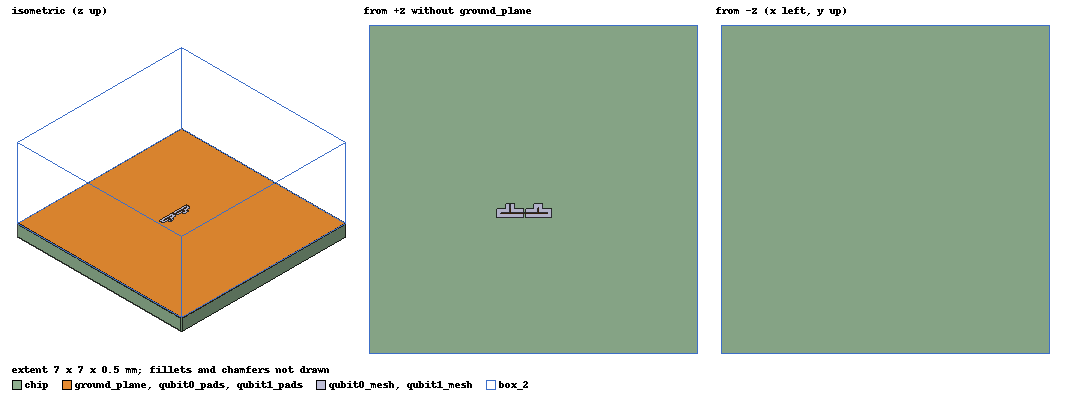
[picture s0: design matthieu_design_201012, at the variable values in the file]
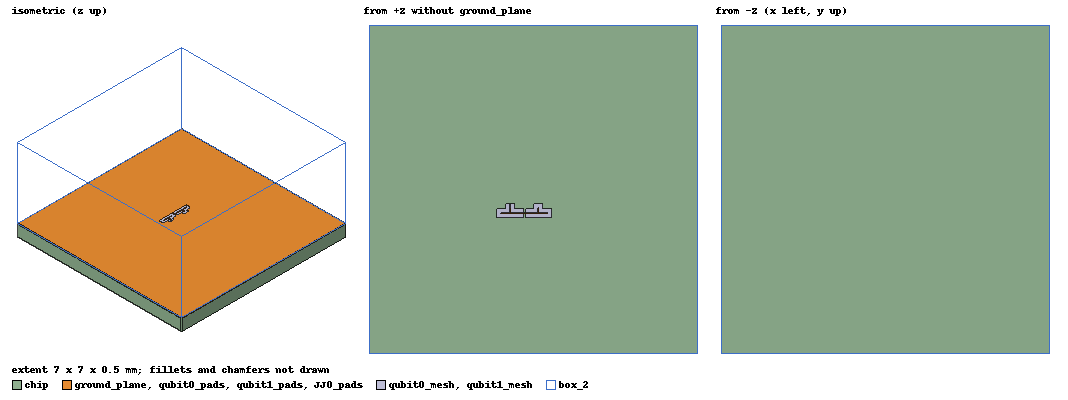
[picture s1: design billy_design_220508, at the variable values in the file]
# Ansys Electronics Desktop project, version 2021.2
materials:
  vacuum: permittivity=1
  InP: permittivity=12.4

design matthieu_design_201012 (HFSS, Eigenmode, model units mm)
options: Save_Adaptive_support_files
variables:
  chip_width = 7mm
  chip_length = 7mm
  chip_thickness = 500um
  vaccuum_thickness = 3000um
  qubit0_pos_x = 3mm
  qubit0_tr = 30um
  qubit0_leg = 100um
  qubit0top = 400um
  qubit0gap = 80um
  qubit0fillet = 10um
  qubit0wid = 2um
  qubit0induct = 10nH
  qubit1_pos_x = 3.6mm
  qubit1_tr = 30um
  qubit1_leg = 100um
  qubit1top = 400um
  qubit1gap = 80um
  qubit1fillet = 10um
  qubit1wid = 2um
  qubit1induct = 9.5nH
  JJ_width = 4um
  JJ_capa_gap = 100nm
  qubit0_pos_y = 3mm
  qubit1_pos_y = 3mm
  q01_tuning_capacitance = 1.06e-15farad
  JJ_gap = 1000nm
  q01_tuning_resistance = 4505000000ohm
  q01_tuning_inductance = 0nH
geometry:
  chip [InP] = box(corner=(0, 0, 0), size=(chip_width, chip_length, -chip_thickness))
  box_2 [vacuum] = box(corner=(0, 0, 0), size=(chip_width, chip_length, vaccuum_thickness))
  ground_plane = rectangle(corner=(0, 0, 0), x_size=chip_width, y_size=chip_length)
  qubit0_cutout = polyline(z=0, xy: (qubit0_pos_x + 1.0*qubit0gap + 0.5*qubit0top, qubit0_pos_y - 0.5*qubit0_tr - 1.0*qubit0gap) (qubit0_pos_x - 1.0*qubit0gap - 0.5*qubit0top, qubit0_pos_y - 0.5*qubit0_tr - 1.0*qubit0gap) (qubit0_pos_x - 1.0*qubit0gap - 0.5*qubit0top, qubit0_pos_y + 0.5*qubit0_tr + 1.0*qubit0gap) (qubit0_pos_x - 0.5*qubit0_tr - 1.0*qubit0gap, qubit0_pos_y + 0.5*qubit0_tr + 1.0*qubit0gap) (qubit0_pos_x - 0.5*qubit0_tr - 1.0*qubit0gap, 1.0*qubit0_leg + qubit0_pos_y + 0.5*qubit0_tr + 1.0*qubit0gap) (qubit0_pos_x + 0.5*qubit0_tr + 1.0*qubit0gap, 1.0*qubit0_leg + qubit0_pos_y + 0.5*qubit0_tr + 1.0*qubit0gap) (qubit0_pos_x + 0.5*qubit0_tr + 1.0*qubit0gap, qubit0_pos_y + 0.5*qubit0_tr + 1.0*qubit0gap) (qubit0_pos_x + 1.0*qubit0gap + 0.5*qubit0top, qubit0_pos_y + 0.5*qubit0_tr + 1.0*qubit0gap) (qubit0_pos_x + 1.0*qubit0gap + 0.5*qubit0top, qubit0_pos_y - 0.5*qubit0_tr - 1.0*qubit0gap), closed, covered)
  qubit0_cutout.fillet(Vertices=qubit0_cutout.vertex(8 of 8) Radius=qubit0fillet Setback=0mm)
  qubit0_cutout.fillet(Vertices=qubit0_cutout.vertex(7 of 8) Radius=qubit0fillet Setback=0mm)
  qubit0_cutout.fillet(Vertices=qubit0_cutout.vertex(5 of 8, 6 of 8) Radius=qubit0fillet Setback=0mm)
  qubit0_cutout.fillet(Vertices=qubit0_cutout.vertex(4 of 8) Radius=qubit0fillet Setback=0mm)
  qubit0_cutout.fillet(Vertices=qubit0_cutout.vertex(1 of 8, 2 of 8, 3 of 8) Radius=qubit0fillet Setback=0mm)
  qubit0_mesh = polyline(z=0, xy: (qubit0_pos_x + 1.0*qubit0gap + 0.5*qubit0top, qubit0_pos_y - 0.5*qubit0_tr - 1.0*qubit0gap) (qubit0_pos_x - 1.0*qubit0gap - 0.5*qubit0top, qubit0_pos_y - 0.5*qubit0_tr - 1.0*qubit0gap) (qubit0_pos_x - 1.0*qubit0gap - 0.5*qubit0top, qubit0_pos_y + 0.5*qubit0_tr + 1.0*qubit0gap) (qubit0_pos_x - 0.5*qubit0_tr - 1.0*qubit0gap, qubit0_pos_y + 0.5*qubit0_tr + 1.0*qubit0gap) (qubit0_pos_x - 0.5*qubit0_tr - 1.0*qubit0gap, 1.0*qubit0_leg + qubit0_pos_y + 0.5*qubit0_tr + 1.0*qubit0gap) (qubit0_pos_x + 0.5*qubit0_tr + 1.0*qubit0gap, 1.0*qubit0_leg + qubit0_pos_y + 0.5*qubit0_tr + 1.0*qubit0gap) (qubit0_pos_x + 0.5*qubit0_tr + 1.0*qubit0gap, qubit0_pos_y + 0.5*qubit0_tr + 1.0*qubit0gap) (qubit0_pos_x + 1.0*qubit0gap + 0.5*qubit0top, qubit0_pos_y + 0.5*qubit0_tr + 1.0*qubit0gap) (qubit0_pos_x + 1.0*qubit0gap + 0.5*qubit0top, qubit0_pos_y - 0.5*qubit0_tr - 1.0*qubit0gap), closed, covered)
  qubit0_mesh.fillet(Vertices=qubit0_mesh.vertex(8 of 8) Radius=qubit0fillet Setback=0mm)
  qubit0_mesh.fillet(Vertices=qubit0_mesh.vertex(7 of 8) Radius=qubit0fillet Setback=0mm)
  qubit0_mesh.fillet(Vertices=qubit0_mesh.vertex(5 of 8, 6 of 8) Radius=qubit0fillet Setback=0mm)
  qubit0_mesh.fillet(Vertices=qubit0_mesh.vertex(4 of 8) Radius=qubit0fillet Setback=0mm)
  qubit0_mesh.fillet(Vertices=qubit0_mesh.vertex(1 of 8, 2 of 8, 3 of 8) Radius=qubit0fillet Setback=0mm)
  qubit0_junction_pads = polyline(z=0, xy: (1.0*qubit0_pos_x - 0.5*qubit0wid, 1.0*qubit0_leg + 1.0*qubit0_pos_y + 0.5*qubit0_tr + 0.5*qubit0gap + 0.5*qubit0wid) (1.0*qubit0_pos_x - 0.5*qubit0wid, 1.0*qubit0_leg + 1.0*qubit0_pos_y + 0.5*qubit0_tr + 0.5*qubit0gap - 0.25*qubit0wid + 0.5*(qubit0gap**2.0)**0.5) (1.0*qubit0_pos_x - 0.75*qubit0wid, 1.0*qubit0_leg + 1.0*qubit0_pos_y + 0.5*qubit0_tr + 0.5*qubit0gap + 0.5*(qubit0gap**2.0)**0.5) (1.0*qubit0_pos_x + 0.75*qubit0wid, 1.0*qubit0_leg + 1.0*qubit0_pos_y + 0.5*qubit0_tr + 0.5*qubit0gap + 0.5*(qubit0gap**2.0)**0.5) (1.0*qubit0_pos_x + 0.5*qubit0wid, 1.0*qubit0_leg + 1.0*qubit0_pos_y + 0.5*qubit0_tr + 0.5*qubit0gap - 0.25*qubit0wid + 0.5*(qubit0gap**2.0)**0.5) (1.0*qubit0_pos_x + 0.5*qubit0wid, 1.0*qubit0_leg + 1.0*qubit0_pos_y + 0.5*qubit0_tr + 0.5*qubit0gap + 0.5*qubit0wid) (1.0*qubit0_pos_x - 0.5*qubit0wid, 1.0*qubit0_leg + 1.0*qubit0_pos_y + 0.5*qubit0_tr + 0.5*qubit0gap + 0.5*qubit0wid), closed, covered)
  qubit0_junction_pad2 = polyline(z=0, xy: (1.0*qubit0_pos_x - 0.5*qubit0wid, 1.0*qubit0_leg + 1.0*qubit0_pos_y + 0.5*qubit0_tr + 0.5*qubit0gap - 0.5*qubit0wid) (1.0*qubit0_pos_x - 0.5*qubit0wid, 1.0*qubit0_leg + 1.0*qubit0_pos_y + 0.5*qubit0_tr + 0.5*qubit0gap + 0.25*qubit0wid - 0.5*(qubit0gap**2.0)**0.5) (1.0*qubit0_pos_x - 0.75*qubit0wid, 1.0*qubit0_leg + 1.0*qubit0_pos_y + 0.5*qubit0_tr + 0.5*qubit0gap - 0.5*(qubit0gap**2.0)**0.5) (1.0*qubit0_pos_x + 0.75*qubit0wid, 1.0*qubit0_leg + 1.0*qubit0_pos_y + 0.5*qubit0_tr + 0.5*qubit0gap - 0.5*(qubit0gap**2.0)**0.5) (1.0*qubit0_pos_x + 0.5*qubit0wid, 1.0*qubit0_leg + 1.0*qubit0_pos_y + 0.5*qubit0_tr + 0.5*qubit0gap + 0.25*qubit0wid - 0.5*(qubit0gap**2.0)**0.5) (1.0*qubit0_pos_x + 0.5*qubit0wid, 1.0*qubit0_leg + 1.0*qubit0_pos_y + 0.5*qubit0_tr + 0.5*qubit0gap - 0.5*qubit0wid) (1.0*qubit0_pos_x - 0.5*qubit0wid, 1.0*qubit0_leg + 1.0*qubit0_pos_y + 0.5*qubit0_tr + 0.5*qubit0gap - 0.5*qubit0wid), closed, covered)
  qubit0_junction_pads.unite(qubit0_junction_pad2)
  qubit0_junction_mesh = rectangle(corner=(1.0*qubit0_pos_x + 0.75*qubit0wid, 1.0*qubit0_leg + 1.0*qubit0_pos_y + 0.5*qubit0_tr + 0.5*qubit0gap - 0.5*(qubit0gap**2.0)**0.5, 0), x_size=-1.5*qubit0wid, y_size=1.0*(qubit0gap**2.0)**0.5)
  qubit0_junction_line = polyline((1.0*qubit0_pos_x, 1.0*qubit0_leg + 1.0*qubit0_pos_y + 0.5*qubit0_tr + 0.5*qubit0gap - 0.5*qubit0wid, 0) (1.0*qubit0_pos_x, 1.0*qubit0_leg + 1.0*qubit0_pos_y + 0.5*qubit0_tr + 0.5*qubit0gap + 0.5*qubit0wid, 0))
  qubit0_junction = rectangle(corner=(1.0*qubit0_pos_x + 0.5*qubit0wid, 1.0*qubit0_leg + 1.0*qubit0_pos_y + 0.5*qubit0_tr + 0.5*qubit0gap - 0.5*qubit0wid, 0), x_size=-1.0*qubit0wid, y_size=1.0*qubit0wid)
  qubit0_pads = polyline(z=0, xy: (qubit0_pos_x + 0.5*qubit0top, qubit0_pos_y - 0.5*qubit0_tr) (qubit0_pos_x - 0.5*qubit0top, qubit0_pos_y - 0.5*qubit0_tr) (qubit0_pos_x - 0.5*qubit0top, qubit0_pos_y + 0.5*qubit0_tr) (qubit0_pos_x - 0.5*qubit0_tr, qubit0_pos_y + 0.5*qubit0_tr) (qubit0_pos_x - 0.5*qubit0_tr, 1.0*qubit0_leg + qubit0_pos_y + 0.5*qubit0_tr) (qubit0_pos_x + 0.5*qubit0_tr, 1.0*qubit0_leg + qubit0_pos_y + 0.5*qubit0_tr) (qubit0_pos_x + 0.5*qubit0_tr, qubit0_pos_y + 0.5*qubit0_tr) (qubit0_pos_x + 0.5*qubit0top, qubit0_pos_y + 0.5*qubit0_tr) (qubit0_pos_x + 0.5*qubit0top, qubit0_pos_y - 0.5*qubit0_tr), closed, covered)
  qubit0_pads.fillet(Vertices=qubit0_pads.vertex(8 of 8) Radius=qubit0fillet Setback=0mm)
  qubit0_pads.fillet(Vertices=qubit0_pads.vertex(7 of 8) Radius=qubit0fillet Setback=0mm)
  qubit0_pads.fillet(Vertices=qubit0_pads.vertex(5 of 8, 6 of 8) Radius=qubit0fillet Setback=0mm)
  qubit0_pads.fillet(Vertices=qubit0_pads.vertex(4 of 8) Radius=qubit0fillet Setback=0mm)
  qubit0_pads.fillet(Vertices=qubit0_pads.vertex(1 of 8, 2 of 8, 3 of 8) Radius=qubit0fillet Setback=0mm)
  qubit0_pads.unite(qubit0_junction_pads)
  qubit1_cutout = polyline(z=0, xy: (qubit1_pos_x + 1.0*qubit1gap + 0.5*qubit1top, qubit1_pos_y - 0.5*qubit1_tr - 1.0*qubit1gap) (qubit1_pos_x - 1.0*qubit1gap - 0.5*qubit1top, qubit1_pos_y - 0.5*qubit1_tr - 1.0*qubit1gap) (qubit1_pos_x - 1.0*qubit1gap - 0.5*qubit1top, qubit1_pos_y + 0.5*qubit1_tr + 1.0*qubit1gap) (qubit1_pos_x - 0.5*qubit1_tr - 1.0*qubit1gap, qubit1_pos_y + 0.5*qubit1_tr + 1.0*qubit1gap) (qubit1_pos_x - 0.5*qubit1_tr - 1.0*qubit1gap, 1.0*qubit1_leg + qubit1_pos_y + 0.5*qubit1_tr + 1.0*qubit1gap) (qubit1_pos_x + 0.5*qubit1_tr + 1.0*qubit1gap, 1.0*qubit1_leg + qubit1_pos_y + 0.5*qubit1_tr + 1.0*qubit1gap) (qubit1_pos_x + 0.5*qubit1_tr + 1.0*qubit1gap, qubit1_pos_y + 0.5*qubit1_tr + 1.0*qubit1gap) (qubit1_pos_x + 1.0*qubit1gap + 0.5*qubit1top, qubit1_pos_y + 0.5*qubit1_tr + 1.0*qubit1gap) (qubit1_pos_x + 1.0*qubit1gap + 0.5*qubit1top, qubit1_pos_y - 0.5*qubit1_tr - 1.0*qubit1gap), closed, covered)
  qubit1_cutout.fillet(Vertices=qubit0_cutout.vertex(8 of 8) Radius=qubit1fillet Setback=0mm)
  qubit1_cutout.fillet(Vertices=qubit0_cutout.vertex(7 of 8) Radius=qubit1fillet Setback=0mm)
  qubit1_cutout.fillet(Vertices=qubit0_cutout.vertex(5 of 8, 6 of 8) Radius=qubit1fillet Setback=0mm)
  qubit1_cutout.fillet(Vertices=qubit0_cutout.vertex(4 of 8) Radius=qubit1fillet Setback=0mm)
  qubit1_cutout.fillet(Vertices=qubit0_cutout.vertex(1 of 8, 2 of 8, 3 of 8) Radius=qubit1fillet Setback=0mm)
  qubit1_mesh = polyline(z=0, xy: (qubit1_pos_x + 1.0*qubit1gap + 0.5*qubit1top, qubit1_pos_y - 0.5*qubit1_tr - 1.0*qubit1gap) (qubit1_pos_x - 1.0*qubit1gap - 0.5*qubit1top, qubit1_pos_y - 0.5*qubit1_tr - 1.0*qubit1gap) (qubit1_pos_x - 1.0*qubit1gap - 0.5*qubit1top, qubit1_pos_y + 0.5*qubit1_tr + 1.0*qubit1gap) (qubit1_pos_x - 0.5*qubit1_tr - 1.0*qubit1gap, qubit1_pos_y + 0.5*qubit1_tr + 1.0*qubit1gap) (qubit1_pos_x - 0.5*qubit1_tr - 1.0*qubit1gap, 1.0*qubit1_leg + qubit1_pos_y + 0.5*qubit1_tr + 1.0*qubit1gap) (qubit1_pos_x + 0.5*qubit1_tr + 1.0*qubit1gap, 1.0*qubit1_leg + qubit1_pos_y + 0.5*qubit1_tr + 1.0*qubit1gap) (qubit1_pos_x + 0.5*qubit1_tr + 1.0*qubit1gap, qubit1_pos_y + 0.5*qubit1_tr + 1.0*qubit1gap) (qubit1_pos_x + 1.0*qubit1gap + 0.5*qubit1top, qubit1_pos_y + 0.5*qubit1_tr + 1.0*qubit1gap) (qubit1_pos_x + 1.0*qubit1gap + 0.5*qubit1top, qubit1_pos_y - 0.5*qubit1_tr - 1.0*qubit1gap), closed, covered)
  qubit1_mesh.fillet(Vertices=qubit1_mesh.vertex(8 of 8) Radius=qubit1fillet Setback=0mm)
  qubit1_mesh.fillet(Vertices=qubit1_mesh.vertex(7 of 8) Radius=qubit1fillet Setback=0mm)
  qubit1_mesh.fillet(Vertices=qubit1_mesh.vertex(5 of 8, 6 of 8) Radius=qubit1fillet Setback=0mm)
  qubit1_mesh.fillet(Vertices=qubit1_mesh.vertex(4 of 8) Radius=qubit1fillet Setback=0mm)
  qubit1_mesh.fillet(Vertices=qubit1_mesh.vertex(1 of 8, 2 of 8, 3 of 8) Radius=qubit1fillet Setback=0mm)
  qubit1_junction_pads = polyline(z=0, xy: (1.0*qubit1_pos_x - 0.5*qubit1wid, 1.0*qubit1_leg + 1.0*qubit1_pos_y + 0.5*qubit1_tr + 0.5*qubit1gap + 0.5*qubit1wid) (1.0*qubit1_pos_x - 0.5*qubit1wid, 1.0*qubit1_leg + 1.0*qubit1_pos_y + 0.5*qubit1_tr + 0.5*qubit1gap - 0.25*qubit1wid + 0.5*(qubit1gap**2.0)**0.5) (1.0*qubit1_pos_x - 0.75*qubit1wid, 1.0*qubit1_leg + 1.0*qubit1_pos_y + 0.5*qubit1_tr + 0.5*qubit1gap + 0.5*(qubit1gap**2.0)**0.5) (1.0*qubit1_pos_x + 0.75*qubit1wid, 1.0*qubit1_leg + 1.0*qubit1_pos_y + 0.5*qubit1_tr + 0.5*qubit1gap + 0.5*(qubit1gap**2.0)**0.5) (1.0*qubit1_pos_x + 0.5*qubit1wid, 1.0*qubit1_leg + 1.0*qubit1_pos_y + 0.5*qubit1_tr + 0.5*qubit1gap - 0.25*qubit1wid + 0.5*(qubit1gap**2.0)**0.5) (1.0*qubit1_pos_x + 0.5*qubit1wid, 1.0*qubit1_leg + 1.0*qubit1_pos_y + 0.5*qubit1_tr + 0.5*qubit1gap + 0.5*qubit1wid) (1.0*qubit1_pos_x - 0.5*qubit1wid, 1.0*qubit1_leg + 1.0*qubit1_pos_y + 0.5*qubit1_tr + 0.5*qubit1gap + 0.5*qubit1wid), closed, covered)
  qubit1_junction_pad2 = polyline(z=0, xy: (1.0*qubit1_pos_x - 0.5*qubit1wid, 1.0*qubit1_leg + 1.0*qubit1_pos_y + 0.5*qubit1_tr + 0.5*qubit1gap - 0.5*qubit1wid) (1.0*qubit1_pos_x - 0.5*qubit1wid, 1.0*qubit1_leg + 1.0*qubit1_pos_y + 0.5*qubit1_tr + 0.5*qubit1gap + 0.25*qubit1wid - 0.5*(qubit1gap**2.0)**0.5) (1.0*qubit1_pos_x - 0.75*qubit1wid, 1.0*qubit1_leg + 1.0*qubit1_pos_y + 0.5*qubit1_tr + 0.5*qubit1gap - 0.5*(qubit1gap**2.0)**0.5) (1.0*qubit1_pos_x + 0.75*qubit1wid, 1.0*qubit1_leg + 1.0*qubit1_pos_y + 0.5*qubit1_tr + 0.5*qubit1gap - 0.5*(qubit1gap**2.0)**0.5) (1.0*qubit1_pos_x + 0.5*qubit1wid, 1.0*qubit1_leg + 1.0*qubit1_pos_y + 0.5*qubit1_tr + 0.5*qubit1gap + 0.25*qubit1wid - 0.5*(qubit1gap**2.0)**0.5) (1.0*qubit1_pos_x + 0.5*qubit1wid, 1.0*qubit1_leg + 1.0*qubit1_pos_y + 0.5*qubit1_tr + 0.5*qubit1gap - 0.5*qubit1wid) (1.0*qubit1_pos_x - 0.5*qubit1wid, 1.0*qubit1_leg + 1.0*qubit1_pos_y + 0.5*qubit1_tr + 0.5*qubit1gap - 0.5*qubit1wid), closed, covered)
  qubit1_junction_pads.unite(qubit1_junction_pad2)
  qubit1_junction_mesh = rectangle(corner=(1.0*qubit1_pos_x + 0.75*qubit1wid, 1.0*qubit1_leg + 1.0*qubit1_pos_y + 0.5*qubit1_tr + 0.5*qubit1gap - 0.5*(qubit1gap**2.0)**0.5, 0), x_size=-1.5*qubit1wid, y_size=1.0*(qubit1gap**2.0)**0.5)
  qubit1_junction_line = polyline((1.0*qubit1_pos_x, 1.0*qubit1_leg + 1.0*qubit1_pos_y + 0.5*qubit1_tr + 0.5*qubit1gap - 0.5*qubit1wid, 0) (1.0*qubit1_pos_x, 1.0*qubit1_leg + 1.0*qubit1_pos_y + 0.5*qubit1_tr + 0.5*qubit1gap + 0.5*qubit1wid, 0))
  qubit1_junction = rectangle(corner=(1.0*qubit1_pos_x + 0.5*qubit1wid, 1.0*qubit1_leg + 1.0*qubit1_pos_y + 0.5*qubit1_tr + 0.5*qubit1gap - 0.5*qubit1wid, 0), x_size=-1.0*qubit1wid, y_size=1.0*qubit1wid)
  qubit1_pads = polyline(z=0, xy: (qubit1_pos_x + 0.5*qubit1top, qubit1_pos_y - 0.5*qubit1_tr) (qubit1_pos_x - 0.5*qubit1top, qubit1_pos_y - 0.5*qubit1_tr) (qubit1_pos_x - 0.5*qubit1top, qubit1_pos_y + 0.5*qubit1_tr) (qubit1_pos_x - 0.5*qubit1_tr, qubit1_pos_y + 0.5*qubit1_tr) (qubit1_pos_x - 0.5*qubit1_tr, 1.0*qubit1_leg + qubit1_pos_y + 0.5*qubit1_tr) (qubit1_pos_x + 0.5*qubit1_tr, 1.0*qubit1_leg + qubit1_pos_y + 0.5*qubit1_tr) (qubit1_pos_x + 0.5*qubit1_tr, qubit1_pos_y + 0.5*qubit1_tr) (qubit1_pos_x + 0.5*qubit1top, qubit1_pos_y + 0.5*qubit1_tr) (qubit1_pos_x + 0.5*qubit1top, qubit1_pos_y - 0.5*qubit1_tr), closed, covered)
  qubit1_pads.fillet(Vertices=qubit1_pads.vertex(8 of 8) Radius=qubit1fillet Setback=0mm)
  qubit1_pads.fillet(Vertices=qubit1_pads.vertex(7 of 8) Radius=qubit1fillet Setback=0mm)
  qubit1_pads.fillet(Vertices=qubit1_pads.vertex(5 of 8, 6 of 8) Radius=qubit1fillet Setback=0mm)
  qubit1_pads.fillet(Vertices=qubit1_pads.vertex(4 of 8) Radius=qubit1fillet Setback=0mm)
  qubit1_pads.fillet(Vertices=qubit1_pads.vertex(1 of 8, 2 of 8, 3 of 8) Radius=qubit1fillet Setback=0mm)
  qubit1_pads.unite(qubit1_junction_pads)
  JJ0_pads = polyline(z=0, xy: (0.5*JJ_gap + 0.5*qubit0_pos_x + 0.5*qubit1_pos_x, 0.5*JJ_width + 1.0*qubit0_pos_y) (0.5*JJ_width + 0.5*qubit0_pos_x - 0.166666666666666*qubit0_tr + 0.5*qubit1_pos_x + 0.5*((2.0*JJ_capa_gap + 1.0*qubit0_pos_x + 0.5*qubit0top - 1.0*qubit1_pos_x + 0.5*qubit1top)**2.0)**0.5, 0.5*JJ_width + 1.0*qubit0_pos_y) (0.5*qubit0_pos_x + 0.5*qubit1_pos_x + 0.5*((2.0*JJ_capa_gap + 1.0*qubit0_pos_x + 0.5*qubit0top - 1.0*qubit1_pos_x + 0.5*qubit1top)**2.0)**0.5, 1.0*qubit0_pos_y + 0.166666666666666*qubit0_tr) (0.5*qubit0_pos_x + 0.5*qubit1_pos_x + 0.5*((2.0*JJ_capa_gap + 1.0*qubit0_pos_x + 0.5*qubit0top - 1.0*qubit1_pos_x + 0.5*qubit1top)**2.0)**0.5, 1.0*qubit0_pos_y - 0.166666666666667*qubit0_tr) (0.5*JJ_width + 0.5*qubit0_pos_x - 0.166666666666666*qubit0_tr + 0.5*qubit1_pos_x + 0.5*((2.0*JJ_capa_gap + 1.0*qubit0_pos_x + 0.5*qubit0top - 1.0*qubit1_pos_x + 0.5*qubit1top)**2.0)**0.5, -0.5*JJ_width + 1.0*qubit0_pos_y - 9.99200722162641e-16*qubit0_tr) (0.5*JJ_gap + 0.5*qubit0_pos_x + 0.5*qubit1_pos_x, -0.5*JJ_width + 1.0*qubit0_pos_y - 9.99200722162641e-16*qubit0_tr) (0.5*JJ_gap + 0.5*qubit0_pos_x + 0.5*qubit1_pos_x, 0.5*JJ_width + 1.0*qubit0_pos_y), closed, covered)
  JJ0_pad2 = polyline(z=0, xy: (-0.5*JJ_gap + 0.5*qubit0_pos_x + 0.5*qubit1_pos_x, 0.5*JJ_width + 1.0*qubit0_pos_y) (-0.5*JJ_width + 0.5*qubit0_pos_x + 0.166666666666666*qubit0_tr + 0.5*qubit1_pos_x - 0.5*((2.0*JJ_capa_gap + 1.0*qubit0_pos_x + 0.5*qubit0top - 1.0*qubit1_pos_x + 0.5*qubit1top)**2.0)**0.5, 0.5*JJ_width + 1.0*qubit0_pos_y) (0.5*qubit0_pos_x + 0.5*qubit1_pos_x - 0.5*((2.0*JJ_capa_gap + 1.0*qubit0_pos_x + 0.5*qubit0top - 1.0*qubit1_pos_x + 0.5*qubit1top)**2.0)**0.5, 1.0*qubit0_pos_y + 0.166666666666666*qubit0_tr) (0.5*qubit0_pos_x + 0.5*qubit1_pos_x - 0.5*((2.0*JJ_capa_gap + 1.0*qubit0_pos_x + 0.5*qubit0top - 1.0*qubit1_pos_x + 0.5*qubit1top)**2.0)**0.5, 1.0*qubit0_pos_y - 0.166666666666667*qubit0_tr) (-0.5*JJ_width + 0.5*qubit0_pos_x + 0.166666666666666*qubit0_tr + 0.5*qubit1_pos_x - 0.5*((2.0*JJ_capa_gap + 1.0*qubit0_pos_x + 0.5*qubit0top - 1.0*qubit1_pos_x + 0.5*qubit1top)**2.0)**0.5, -0.5*JJ_width + 1.0*qubit0_pos_y - 9.99200722162641e-16*qubit0_tr) (-0.5*JJ_gap + 0.5*qubit0_pos_x + 0.5*qubit1_pos_x, -0.5*JJ_width + 1.0*qubit0_pos_y - 9.99200722162641e-16*qubit0_tr) (-0.5*JJ_gap + 0.5*qubit0_pos_x + 0.5*qubit1_pos_x, 0.5*JJ_width + 1.0*qubit0_pos_y), closed, covered)
  JJ0_pads.unite(JJ0_pad2)
  JJ0_mesh = rectangle(corner=(0.5*qubit0_pos_x + 0.5*qubit1_pos_x - 0.5*((2.0*JJ_capa_gap + 1.0*qubit0_pos_x + 0.5*qubit0top - 1.0*qubit1_pos_x + 0.5*qubit1top)**2.0)**0.5, 1.0*qubit0_pos_y - 0.166666666666666*qubit0_tr, 0), x_size=1.0*((2.0*JJ_capa_gap + 1.0*qubit0_pos_x + 0.5*qubit0top - 1.0*qubit1_pos_x + 0.5*qubit1top)**2.0)**0.5, y_size=0.333333333333333*qubit0_tr)
  JJ0_mesh_fine = rectangle(corner=(-5.0*JJ_gap + 0.5*qubit0_pos_x + 0.5*qubit1_pos_x, 1.0*qubit0_pos_y - 0.166666666666666*qubit0_tr, 0), x_size=10.0*JJ_gap, y_size=0.333333333333333*qubit0_tr)
  JJ0_line = polyline((-0.5*JJ_gap + 0.5*qubit0_pos_x + 0.5*qubit1_pos_x, 1.0*qubit0_pos_y, 0) (0.5*JJ_gap + 0.5*qubit0_pos_x + 0.5*qubit1_pos_x, 1.0*qubit0_pos_y, 0))
  JJ0 = rectangle(corner=(-0.5*JJ_gap + 0.5*qubit0_pos_x + 0.5*qubit1_pos_x, -0.5*JJ_width + 1.0*qubit0_pos_y, 0), x_size=1.0*JJ_gap, y_size=1.0*JJ_width)
  JJ0_cutout = rectangle(corner=(1.0*JJ_capa_gap + 1.0*qubit0_pos_x + 0.25*qubit0top + 0.25*qubit1top, qubit0_pos_y - 0.266666666666666*qubit0_tr, 0), x_size=-2.0*JJ_capa_gap - 1.0*qubit0_pos_x - 0.5*qubit0top + 1.0*qubit1_pos_x - 0.5*qubit1top, y_size=0.533333333333333*qubit0_tr)
  cg1 = rectangle(corner=(qubit0_pos_x + 0.5*qubit0top, qubit0_pos_y - 0.166666666666666*qubit0_tr, 0), x_size=JJ_capa_gap, y_size=0.333333333333333*qubit0_tr)
  cg1_mesh = rectangle(corner=(qubit0_pos_x + 0.5*qubit0top, qubit0_pos_y - 0.166666666666666*qubit0_tr, 0), x_size=JJ_capa_gap, y_size=0.333333333333333*qubit0_tr)
  cg2 = rectangle(corner=(-1.0*JJ_capa_gap + qubit1_pos_x - 0.5*qubit1top, qubit1_pos_y - 0.166666666666666*qubit1_tr, 0), x_size=JJ_capa_gap, y_size=0.333333333333333*qubit1_tr)
  cg1_mesh_1 = rectangle(corner=(-1.0*JJ_capa_gap + qubit1_pos_x - 0.5*qubit1top, qubit1_pos_y - 0.166666666666666*qubit1_tr, 0), x_size=JJ_capa_gap, y_size=0.333333333333333*qubit1_tr)
  qubit0_cutout.unite(qubit1_cutout, JJ0_cutout, cg1, cg2)
  ground_plane.subtract(qubit0_cutout)
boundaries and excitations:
  ground_plane_PerfE: Perfect E Objects=ground_plane
  qubit0_junction_LumpRLC: Lumped RLC Objects=qubit0_junction CurrentLine{middle of qubit0_junction.edge(y at corner) -> middle of qubit0_junction.edge(y opposite corner)} RLC_Type=Parallel Inductance=qubit0induct
  qubit1_junction_LumpRLC: Lumped RLC Objects=qubit1_junction CurrentLine{middle of qubit1_junction.edge(y at corner) -> middle of qubit1_junction.edge(y opposite corner)} RLC_Type=Parallel Inductance=qubit1induct
  JJ0_LumpRLC: Lumped RLC Objects=JJ0 CurrentLine{middle of JJ0.edge(x at corner) -> middle of JJ0.edge(x opposite corner)} RLC_Type=Parallel Resistance=q01_tuning_resistance Inductance=q01_tuning_inductance Capacitance=q01_tuning_capacitance
  qubit0_pads_PerfE: Perfect E Objects=qubit0_pads
  qubit1_pads_PerfE: Perfect E Objects=qubit1_pads
  JJ0_pads_PerfE: Perfect E Objects=JJ0_pads
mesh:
  qubit0_mesh: LengthBased Objects=qubit0_mesh MaxLength=0.2*qubit0_tr
  qubit0_junction_mesh: LengthBased Objects=qubit0_junction_mesh MaxLength=0.25*qubit0wid
  qubit1_mesh: LengthBased Objects=qubit1_mesh MaxLength=0.2*qubit1_tr
  qubit1_junction_mesh: LengthBased Objects=qubit1_junction_mesh MaxLength=0.25*qubit1wid
  JJ0_mesh: LengthBased Objects=JJ0_mesh MaxLength=0.5*JJ_width
  cg1_mesh: LengthBased Objects=cg1_mesh MaxLength=5e-08
  cg1_mesh_1: LengthBased Objects=cg1_mesh_1 MaxLength=5e-08
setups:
  Setup1: HfssEigen MinimumFrequency=4GHz NumModes=3 MaxDeltaFreq=1 ConvergeOnRealFreq=true MaximumPasses=20 MinimumPasses=1 MinimumConvergedPasses=1 PercentRefinement=30 BasisOrder=-1 DoLambdaRefine=false
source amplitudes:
  #-10:1: 1 0deg
  #-10:2, #-10:3: 0 0deg
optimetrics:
  ParametricSetup1: Parametric Sim._Setups=[Setup1]
    sweep q01_tuning_capacitance: LINC 1.99e-19farad 3.08e-17farad 2
    sweep q01_tuning_resistance: LINC 324000000000ohm 41200000000ohm 2
    table edits: del(1.99e-19farad, 41200000000ohm) del(3.08e-17farad, 324000000000ohm) edit(1.99e-19farad, 324000000000ohm, 1.06e-15farad, 324000000000ohm) edit(3.08e-17farad, 41200000000ohm, 3.12e-14farad, 41200000000ohm) edit(1.06e-15farad, 324000000000ohm, 1.06e-15farad, 4505000000ohm) edit(3.12e-14farad, 41200000000ohm, 3.12e-14farad, 850000000000000ohm)
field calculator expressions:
  UE = Mag_E | 2 | Pow | EnterVolume(AllObjects) | VolumeValue | Integrate
  US = Mag_E | 2 | Pow | EnterSurface(JJ0) | SurfaceValue | Integrate | 3e-09 | *
  pe_surf = US | UE | /
  USp = Mag_E | 2 | Pow | EnterSurface(JJ0_pads) | SurfaceValue | Integrate
  pe_surf_pads = USp | UE | /
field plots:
  Mag_E1: E Field on Setup1 : LastAdaptive at Phase=0deg
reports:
  Calculator Expressions Table 1: pe_surf_pads vs Phase on Setup1 : LastAdaptive [Phase=0deg q01_tuning_capacitance=all q01_tuning_resistance=all]

design billy_design_220508 (HFSS, Eigenmode, model units mm)
options: Save_Adaptive_support_files
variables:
  chip_width = 7mm
  chip_length = 7mm
  chip_thickness = 500um
  vaccuum_thickness = 3000um
  qubit0_pos_x = 3mm
  qubit0_tr = 30um
  qubit0_leg = 100um
  qubit0top = 400um
  qubit0gap = 80um
  qubit0fillet = 10um
  qubit0wid = 2um
  qubit0induct = 10nH
  qubit1_pos_x = 3.6mm
  qubit1_tr = 30um
  qubit1_leg = 100um
  qubit1top = 400um
  qubit1gap = 80um
  qubit1fillet = 10um
  qubit1wid = 2um
  qubit1induct = 9.5nH
  JJ_width = 4um
  JJ_capa_gap = 100nm
  qubit0_pos_y = 3mm
  qubit1_pos_y = 3mm
  q01_tuning_capacitance = 1.06fF
  JJ_gap = 1000nm
  q01_tuning_resistance = 4505000000ohm
  q01_tuning_inductance = 1nH
  JJ_L = 100nm
  Cg = 100fF
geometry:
  chip [InP] = box(corner=(0, 0, 0), size=(chip_width, chip_length, -chip_thickness))
  box_2 [vacuum] = box(corner=(0, 0, 0), size=(chip_width, chip_length, vaccuum_thickness))
  ground_plane = rectangle(corner=(0, 0, 0), x_size=chip_width, y_size=chip_length)
  qubit0_cutout = polyline(z=0, xy: (qubit0_pos_x + 1.0*qubit0gap + 0.5*qubit0top, qubit0_pos_y - 0.5*qubit0_tr - 1.0*qubit0gap) (qubit0_pos_x - 1.0*qubit0gap - 0.5*qubit0top, qubit0_pos_y - 0.5*qubit0_tr - 1.0*qubit0gap) (qubit0_pos_x - 1.0*qubit0gap - 0.5*qubit0top, qubit0_pos_y + 0.5*qubit0_tr + 1.0*qubit0gap) (qubit0_pos_x - 0.5*qubit0_tr - 1.0*qubit0gap, qubit0_pos_y + 0.5*qubit0_tr + 1.0*qubit0gap) (qubit0_pos_x - 0.5*qubit0_tr - 1.0*qubit0gap, 1.0*qubit0_leg + qubit0_pos_y + 0.5*qubit0_tr + 1.0*qubit0gap) (qubit0_pos_x + 0.5*qubit0_tr + 1.0*qubit0gap, 1.0*qubit0_leg + qubit0_pos_y + 0.5*qubit0_tr + 1.0*qubit0gap) (qubit0_pos_x + 0.5*qubit0_tr + 1.0*qubit0gap, qubit0_pos_y + 0.5*qubit0_tr + 1.0*qubit0gap) (qubit0_pos_x + 1.0*qubit0gap + 0.5*qubit0top, qubit0_pos_y + 0.5*qubit0_tr + 1.0*qubit0gap) (qubit0_pos_x + 1.0*qubit0gap + 0.5*qubit0top, qubit0_pos_y - 0.5*qubit0_tr - 1.0*qubit0gap), closed, covered)
  qubit0_cutout.fillet(Vertices=qubit0_cutout.vertex(8 of 8) Radius=qubit0fillet Setback=0mm)
  qubit0_cutout.fillet(Vertices=qubit0_cutout.vertex(7 of 8) Radius=qubit0fillet Setback=0mm)
  qubit0_cutout.fillet(Vertices=qubit0_cutout.vertex(5 of 8, 6 of 8) Radius=qubit0fillet Setback=0mm)
  qubit0_cutout.fillet(Vertices=qubit0_cutout.vertex(4 of 8) Radius=qubit0fillet Setback=0mm)
  qubit0_cutout.fillet(Vertices=qubit0_cutout.vertex(1 of 8, 2 of 8, 3 of 8) Radius=qubit0fillet Setback=0mm)
  qubit0_mesh = polyline(z=0, xy: (qubit0_pos_x + 1.0*qubit0gap + 0.5*qubit0top, qubit0_pos_y - 0.5*qubit0_tr - 1.0*qubit0gap) (qubit0_pos_x - 1.0*qubit0gap - 0.5*qubit0top, qubit0_pos_y - 0.5*qubit0_tr - 1.0*qubit0gap) (qubit0_pos_x - 1.0*qubit0gap - 0.5*qubit0top, qubit0_pos_y + 0.5*qubit0_tr + 1.0*qubit0gap) (qubit0_pos_x - 0.5*qubit0_tr - 1.0*qubit0gap, qubit0_pos_y + 0.5*qubit0_tr + 1.0*qubit0gap) (qubit0_pos_x - 0.5*qubit0_tr - 1.0*qubit0gap, 1.0*qubit0_leg + qubit0_pos_y + 0.5*qubit0_tr + 1.0*qubit0gap) (qubit0_pos_x + 0.5*qubit0_tr + 1.0*qubit0gap, 1.0*qubit0_leg + qubit0_pos_y + 0.5*qubit0_tr + 1.0*qubit0gap) (qubit0_pos_x + 0.5*qubit0_tr + 1.0*qubit0gap, qubit0_pos_y + 0.5*qubit0_tr + 1.0*qubit0gap) (qubit0_pos_x + 1.0*qubit0gap + 0.5*qubit0top, qubit0_pos_y + 0.5*qubit0_tr + 1.0*qubit0gap) (qubit0_pos_x + 1.0*qubit0gap + 0.5*qubit0top, qubit0_pos_y - 0.5*qubit0_tr - 1.0*qubit0gap), closed, covered)
  qubit0_mesh.fillet(Vertices=qubit0_mesh.vertex(8 of 8) Radius=qubit0fillet Setback=0mm)
  qubit0_mesh.fillet(Vertices=qubit0_mesh.vertex(7 of 8) Radius=qubit0fillet Setback=0mm)
  qubit0_mesh.fillet(Vertices=qubit0_mesh.vertex(5 of 8, 6 of 8) Radius=qubit0fillet Setback=0mm)
  qubit0_mesh.fillet(Vertices=qubit0_mesh.vertex(4 of 8) Radius=qubit0fillet Setback=0mm)
  qubit0_mesh.fillet(Vertices=qubit0_mesh.vertex(1 of 8, 2 of 8, 3 of 8) Radius=qubit0fillet Setback=0mm)
  qubit0_junction_pads = polyline(z=0, xy: (1.0*qubit0_pos_x - 0.5*qubit0wid, 1.0*qubit0_leg + 1.0*qubit0_pos_y + 0.5*qubit0_tr + 0.5*qubit0gap + 0.5*qubit0wid) (1.0*qubit0_pos_x - 0.5*qubit0wid, 1.0*qubit0_leg + 1.0*qubit0_pos_y + 0.5*qubit0_tr + 0.5*qubit0gap - 0.25*qubit0wid + 0.5*(qubit0gap**2.0)**0.5) (1.0*qubit0_pos_x - 0.75*qubit0wid, 1.0*qubit0_leg + 1.0*qubit0_pos_y + 0.5*qubit0_tr + 0.5*qubit0gap + 0.5*(qubit0gap**2.0)**0.5) (1.0*qubit0_pos_x + 0.75*qubit0wid, 1.0*qubit0_leg + 1.0*qubit0_pos_y + 0.5*qubit0_tr + 0.5*qubit0gap + 0.5*(qubit0gap**2.0)**0.5) (1.0*qubit0_pos_x + 0.5*qubit0wid, 1.0*qubit0_leg + 1.0*qubit0_pos_y + 0.5*qubit0_tr + 0.5*qubit0gap - 0.25*qubit0wid + 0.5*(qubit0gap**2.0)**0.5) (1.0*qubit0_pos_x + 0.5*qubit0wid, 1.0*qubit0_leg + 1.0*qubit0_pos_y + 0.5*qubit0_tr + 0.5*qubit0gap + 0.5*qubit0wid) (1.0*qubit0_pos_x - 0.5*qubit0wid, 1.0*qubit0_leg + 1.0*qubit0_pos_y + 0.5*qubit0_tr + 0.5*qubit0gap + 0.5*qubit0wid), closed, covered)
  qubit0_junction_pad2 = polyline(z=0, xy: (1.0*qubit0_pos_x - 0.5*qubit0wid, 1.0*qubit0_leg + 1.0*qubit0_pos_y + 0.5*qubit0_tr + 0.5*qubit0gap - 0.5*qubit0wid) (1.0*qubit0_pos_x - 0.5*qubit0wid, 1.0*qubit0_leg + 1.0*qubit0_pos_y + 0.5*qubit0_tr + 0.5*qubit0gap + 0.25*qubit0wid - 0.5*(qubit0gap**2.0)**0.5) (1.0*qubit0_pos_x - 0.75*qubit0wid, 1.0*qubit0_leg + 1.0*qubit0_pos_y + 0.5*qubit0_tr + 0.5*qubit0gap - 0.5*(qubit0gap**2.0)**0.5) (1.0*qubit0_pos_x + 0.75*qubit0wid, 1.0*qubit0_leg + 1.0*qubit0_pos_y + 0.5*qubit0_tr + 0.5*qubit0gap - 0.5*(qubit0gap**2.0)**0.5) (1.0*qubit0_pos_x + 0.5*qubit0wid, 1.0*qubit0_leg + 1.0*qubit0_pos_y + 0.5*qubit0_tr + 0.5*qubit0gap + 0.25*qubit0wid - 0.5*(qubit0gap**2.0)**0.5) (1.0*qubit0_pos_x + 0.5*qubit0wid, 1.0*qubit0_leg + 1.0*qubit0_pos_y + 0.5*qubit0_tr + 0.5*qubit0gap - 0.5*qubit0wid) (1.0*qubit0_pos_x - 0.5*qubit0wid, 1.0*qubit0_leg + 1.0*qubit0_pos_y + 0.5*qubit0_tr + 0.5*qubit0gap - 0.5*qubit0wid), closed, covered)
  qubit0_junction_pads.unite(qubit0_junction_pad2)
  qubit0_junction_mesh = rectangle(corner=(1.0*qubit0_pos_x + 0.75*qubit0wid, 1.0*qubit0_leg + 1.0*qubit0_pos_y + 0.5*qubit0_tr + 0.5*qubit0gap - 0.5*(qubit0gap**2.0)**0.5, 0), x_size=-1.5*qubit0wid, y_size=1.0*(qubit0gap**2.0)**0.5)
  qubit0_junction_line = polyline((1.0*qubit0_pos_x, 1.0*qubit0_leg + 1.0*qubit0_pos_y + 0.5*qubit0_tr + 0.5*qubit0gap - 0.5*qubit0wid, 0) (1.0*qubit0_pos_x, 1.0*qubit0_leg + 1.0*qubit0_pos_y + 0.5*qubit0_tr + 0.5*qubit0gap + 0.5*qubit0wid, 0))
  qubit0_junction = rectangle(corner=(1.0*qubit0_pos_x + 0.5*qubit0wid, 1.0*qubit0_leg + 1.0*qubit0_pos_y + 0.5*qubit0_tr + 0.5*qubit0gap - 0.5*qubit0wid, 0), x_size=-1.0*qubit0wid, y_size=1.0*qubit0wid)
  qubit0_pads = polyline(z=0, xy: (qubit0_pos_x + 0.5*qubit0top, qubit0_pos_y - 0.5*qubit0_tr) (qubit0_pos_x - 0.5*qubit0top, qubit0_pos_y - 0.5*qubit0_tr) (qubit0_pos_x - 0.5*qubit0top, qubit0_pos_y + 0.5*qubit0_tr) (qubit0_pos_x - 0.5*qubit0_tr, qubit0_pos_y + 0.5*qubit0_tr) (qubit0_pos_x - 0.5*qubit0_tr, 1.0*qubit0_leg + qubit0_pos_y + 0.5*qubit0_tr) (qubit0_pos_x + 0.5*qubit0_tr, 1.0*qubit0_leg + qubit0_pos_y + 0.5*qubit0_tr) (qubit0_pos_x + 0.5*qubit0_tr, qubit0_pos_y + 0.5*qubit0_tr) (qubit0_pos_x + 0.5*qubit0top, qubit0_pos_y + 0.5*qubit0_tr) (qubit0_pos_x + 0.5*qubit0top, qubit0_pos_y - 0.5*qubit0_tr), closed, covered)
  qubit0_pads.fillet(Vertices=qubit0_pads.vertex(8 of 8) Radius=qubit0fillet Setback=0mm)
  qubit0_pads.fillet(Vertices=qubit0_pads.vertex(7 of 8) Radius=qubit0fillet Setback=0mm)
  qubit0_pads.fillet(Vertices=qubit0_pads.vertex(5 of 8, 6 of 8) Radius=qubit0fillet Setback=0mm)
  qubit0_pads.fillet(Vertices=qubit0_pads.vertex(4 of 8) Radius=qubit0fillet Setback=0mm)
  qubit0_pads.fillet(Vertices=qubit0_pads.vertex(1 of 8, 2 of 8, 3 of 8) Radius=qubit0fillet Setback=0mm)
  qubit0_pads.unite(qubit0_junction_pads)
  qubit1_cutout = polyline(z=0, xy: (qubit1_pos_x + 1.0*qubit1gap + 0.5*qubit1top, qubit1_pos_y - 0.5*qubit1_tr - 1.0*qubit1gap) (qubit1_pos_x - 1.0*qubit1gap - 0.5*qubit1top, qubit1_pos_y - 0.5*qubit1_tr - 1.0*qubit1gap) (qubit1_pos_x - 1.0*qubit1gap - 0.5*qubit1top, qubit1_pos_y + 0.5*qubit1_tr + 1.0*qubit1gap) (qubit1_pos_x - 0.5*qubit1_tr - 1.0*qubit1gap, qubit1_pos_y + 0.5*qubit1_tr + 1.0*qubit1gap) (qubit1_pos_x - 0.5*qubit1_tr - 1.0*qubit1gap, 1.0*qubit1_leg + qubit1_pos_y + 0.5*qubit1_tr + 1.0*qubit1gap) (qubit1_pos_x + 0.5*qubit1_tr + 1.0*qubit1gap, 1.0*qubit1_leg + qubit1_pos_y + 0.5*qubit1_tr + 1.0*qubit1gap) (qubit1_pos_x + 0.5*qubit1_tr + 1.0*qubit1gap, qubit1_pos_y + 0.5*qubit1_tr + 1.0*qubit1gap) (qubit1_pos_x + 1.0*qubit1gap + 0.5*qubit1top, qubit1_pos_y + 0.5*qubit1_tr + 1.0*qubit1gap) (qubit1_pos_x + 1.0*qubit1gap + 0.5*qubit1top, qubit1_pos_y - 0.5*qubit1_tr - 1.0*qubit1gap), closed, covered)
  qubit1_cutout.fillet(Vertices=qubit0_cutout.vertex(8 of 8) Radius=qubit1fillet Setback=0mm)
  qubit1_cutout.fillet(Vertices=qubit0_cutout.vertex(7 of 8) Radius=qubit1fillet Setback=0mm)
  qubit1_cutout.fillet(Vertices=qubit0_cutout.vertex(5 of 8, 6 of 8) Radius=qubit1fillet Setback=0mm)
  qubit1_cutout.fillet(Vertices=qubit0_cutout.vertex(4 of 8) Radius=qubit1fillet Setback=0mm)
  qubit1_cutout.fillet(Vertices=qubit0_cutout.vertex(1 of 8, 2 of 8, 3 of 8) Radius=qubit1fillet Setback=0mm)
  qubit1_mesh = polyline(z=0, xy: (qubit1_pos_x + 1.0*qubit1gap + 0.5*qubit1top, qubit1_pos_y - 0.5*qubit1_tr - 1.0*qubit1gap) (qubit1_pos_x - 1.0*qubit1gap - 0.5*qubit1top, qubit1_pos_y - 0.5*qubit1_tr - 1.0*qubit1gap) (qubit1_pos_x - 1.0*qubit1gap - 0.5*qubit1top, qubit1_pos_y + 0.5*qubit1_tr + 1.0*qubit1gap) (qubit1_pos_x - 0.5*qubit1_tr - 1.0*qubit1gap, qubit1_pos_y + 0.5*qubit1_tr + 1.0*qubit1gap) (qubit1_pos_x - 0.5*qubit1_tr - 1.0*qubit1gap, 1.0*qubit1_leg + qubit1_pos_y + 0.5*qubit1_tr + 1.0*qubit1gap) (qubit1_pos_x + 0.5*qubit1_tr + 1.0*qubit1gap, 1.0*qubit1_leg + qubit1_pos_y + 0.5*qubit1_tr + 1.0*qubit1gap) (qubit1_pos_x + 0.5*qubit1_tr + 1.0*qubit1gap, qubit1_pos_y + 0.5*qubit1_tr + 1.0*qubit1gap) (qubit1_pos_x + 1.0*qubit1gap + 0.5*qubit1top, qubit1_pos_y + 0.5*qubit1_tr + 1.0*qubit1gap) (qubit1_pos_x + 1.0*qubit1gap + 0.5*qubit1top, qubit1_pos_y - 0.5*qubit1_tr - 1.0*qubit1gap), closed, covered)
  qubit1_mesh.fillet(Vertices=qubit1_mesh.vertex(8 of 8) Radius=qubit1fillet Setback=0mm)
  qubit1_mesh.fillet(Vertices=qubit1_mesh.vertex(7 of 8) Radius=qubit1fillet Setback=0mm)
  qubit1_mesh.fillet(Vertices=qubit1_mesh.vertex(5 of 8, 6 of 8) Radius=qubit1fillet Setback=0mm)
  qubit1_mesh.fillet(Vertices=qubit1_mesh.vertex(4 of 8) Radius=qubit1fillet Setback=0mm)
  qubit1_mesh.fillet(Vertices=qubit1_mesh.vertex(1 of 8, 2 of 8, 3 of 8) Radius=qubit1fillet Setback=0mm)
  qubit1_junction_pads = polyline(z=0, xy: (1.0*qubit1_pos_x - 0.5*qubit1wid, 1.0*qubit1_leg + 1.0*qubit1_pos_y + 0.5*qubit1_tr + 0.5*qubit1gap + 0.5*qubit1wid) (1.0*qubit1_pos_x - 0.5*qubit1wid, 1.0*qubit1_leg + 1.0*qubit1_pos_y + 0.5*qubit1_tr + 0.5*qubit1gap - 0.25*qubit1wid + 0.5*(qubit1gap**2.0)**0.5) (1.0*qubit1_pos_x - 0.75*qubit1wid, 1.0*qubit1_leg + 1.0*qubit1_pos_y + 0.5*qubit1_tr + 0.5*qubit1gap + 0.5*(qubit1gap**2.0)**0.5) (1.0*qubit1_pos_x + 0.75*qubit1wid, 1.0*qubit1_leg + 1.0*qubit1_pos_y + 0.5*qubit1_tr + 0.5*qubit1gap + 0.5*(qubit1gap**2.0)**0.5) (1.0*qubit1_pos_x + 0.5*qubit1wid, 1.0*qubit1_leg + 1.0*qubit1_pos_y + 0.5*qubit1_tr + 0.5*qubit1gap - 0.25*qubit1wid + 0.5*(qubit1gap**2.0)**0.5) (1.0*qubit1_pos_x + 0.5*qubit1wid, 1.0*qubit1_leg + 1.0*qubit1_pos_y + 0.5*qubit1_tr + 0.5*qubit1gap + 0.5*qubit1wid) (1.0*qubit1_pos_x - 0.5*qubit1wid, 1.0*qubit1_leg + 1.0*qubit1_pos_y + 0.5*qubit1_tr + 0.5*qubit1gap + 0.5*qubit1wid), closed, covered)
  qubit1_junction_pad2 = polyline(z=0, xy: (1.0*qubit1_pos_x - 0.5*qubit1wid, 1.0*qubit1_leg + 1.0*qubit1_pos_y + 0.5*qubit1_tr + 0.5*qubit1gap - 0.5*qubit1wid) (1.0*qubit1_pos_x - 0.5*qubit1wid, 1.0*qubit1_leg + 1.0*qubit1_pos_y + 0.5*qubit1_tr + 0.5*qubit1gap + 0.25*qubit1wid - 0.5*(qubit1gap**2.0)**0.5) (1.0*qubit1_pos_x - 0.75*qubit1wid, 1.0*qubit1_leg + 1.0*qubit1_pos_y + 0.5*qubit1_tr + 0.5*qubit1gap - 0.5*(qubit1gap**2.0)**0.5) (1.0*qubit1_pos_x + 0.75*qubit1wid, 1.0*qubit1_leg + 1.0*qubit1_pos_y + 0.5*qubit1_tr + 0.5*qubit1gap - 0.5*(qubit1gap**2.0)**0.5) (1.0*qubit1_pos_x + 0.5*qubit1wid, 1.0*qubit1_leg + 1.0*qubit1_pos_y + 0.5*qubit1_tr + 0.5*qubit1gap + 0.25*qubit1wid - 0.5*(qubit1gap**2.0)**0.5) (1.0*qubit1_pos_x + 0.5*qubit1wid, 1.0*qubit1_leg + 1.0*qubit1_pos_y + 0.5*qubit1_tr + 0.5*qubit1gap - 0.5*qubit1wid) (1.0*qubit1_pos_x - 0.5*qubit1wid, 1.0*qubit1_leg + 1.0*qubit1_pos_y + 0.5*qubit1_tr + 0.5*qubit1gap - 0.5*qubit1wid), closed, covered)
  qubit1_junction_pads.unite(qubit1_junction_pad2)
  qubit1_junction_mesh = rectangle(corner=(1.0*qubit1_pos_x + 0.75*qubit1wid, 1.0*qubit1_leg + 1.0*qubit1_pos_y + 0.5*qubit1_tr + 0.5*qubit1gap - 0.5*(qubit1gap**2.0)**0.5, 0), x_size=-1.5*qubit1wid, y_size=1.0*(qubit1gap**2.0)**0.5)
  qubit1_junction_line = polyline((1.0*qubit1_pos_x, 1.0*qubit1_leg + 1.0*qubit1_pos_y + 0.5*qubit1_tr + 0.5*qubit1gap - 0.5*qubit1wid, 0) (1.0*qubit1_pos_x, 1.0*qubit1_leg + 1.0*qubit1_pos_y + 0.5*qubit1_tr + 0.5*qubit1gap + 0.5*qubit1wid, 0))
  qubit1_junction = rectangle(corner=(1.0*qubit1_pos_x + 0.5*qubit1wid, 1.0*qubit1_leg + 1.0*qubit1_pos_y + 0.5*qubit1_tr + 0.5*qubit1gap - 0.5*qubit1wid, 0), x_size=-1.0*qubit1wid, y_size=1.0*qubit1wid)
  qubit1_pads = polyline(z=0, xy: (qubit1_pos_x + 0.5*qubit1top, qubit1_pos_y - 0.5*qubit1_tr) (qubit1_pos_x - 0.5*qubit1top, qubit1_pos_y - 0.5*qubit1_tr) (qubit1_pos_x - 0.5*qubit1top, qubit1_pos_y + 0.5*qubit1_tr) (qubit1_pos_x - 0.5*qubit1_tr, qubit1_pos_y + 0.5*qubit1_tr) (qubit1_pos_x - 0.5*qubit1_tr, 1.0*qubit1_leg + qubit1_pos_y + 0.5*qubit1_tr) (qubit1_pos_x + 0.5*qubit1_tr, 1.0*qubit1_leg + qubit1_pos_y + 0.5*qubit1_tr) (qubit1_pos_x + 0.5*qubit1_tr, qubit1_pos_y + 0.5*qubit1_tr) (qubit1_pos_x + 0.5*qubit1top, qubit1_pos_y + 0.5*qubit1_tr) (qubit1_pos_x + 0.5*qubit1top, qubit1_pos_y - 0.5*qubit1_tr), closed, covered)
  qubit1_pads.fillet(Vertices=qubit1_pads.vertex(8 of 8) Radius=qubit1fillet Setback=0mm)
  qubit1_pads.fillet(Vertices=qubit1_pads.vertex(7 of 8) Radius=qubit1fillet Setback=0mm)
  qubit1_pads.fillet(Vertices=qubit1_pads.vertex(5 of 8, 6 of 8) Radius=qubit1fillet Setback=0mm)
  qubit1_pads.fillet(Vertices=qubit1_pads.vertex(4 of 8) Radius=qubit1fillet Setback=0mm)
  qubit1_pads.fillet(Vertices=qubit1_pads.vertex(1 of 8, 2 of 8, 3 of 8) Radius=qubit1fillet Setback=0mm)
  qubit1_pads.unite(qubit1_junction_pads)
  JJ0_pads = polyline(z=0, xy: (0.5*JJ_gap + 0.5*qubit0_pos_x + 0.5*qubit1_pos_x, 0.5*JJ_width + 1.0*qubit0_pos_y) (0.5*JJ_width + 0.5*qubit0_pos_x - 0.166666666666666*qubit0_tr + 0.5*qubit1_pos_x + 0.5*((2.0*JJ_capa_gap + 1.0*qubit0_pos_x + 0.5*qubit0top - 1.0*qubit1_pos_x + 0.5*qubit1top)**2.0)**0.5, 0.5*JJ_width + 1.0*qubit0_pos_y) (0.5*qubit0_pos_x + 0.5*qubit1_pos_x + 0.5*((2.0*JJ_capa_gap + 1.0*qubit0_pos_x + 0.5*qubit0top - 1.0*qubit1_pos_x + 0.5*qubit1top)**2.0)**0.5, 1.0*qubit0_pos_y + 0.166666666666666*qubit0_tr) (0.5*qubit0_pos_x + 0.5*qubit1_pos_x + 0.5*((2.0*JJ_capa_gap + 1.0*qubit0_pos_x + 0.5*qubit0top - 1.0*qubit1_pos_x + 0.5*qubit1top)**2.0)**0.5, 1.0*qubit0_pos_y - 0.166666666666667*qubit0_tr) (0.5*JJ_width + 0.5*qubit0_pos_x - 0.166666666666666*qubit0_tr + 0.5*qubit1_pos_x + 0.5*((2.0*JJ_capa_gap + 1.0*qubit0_pos_x + 0.5*qubit0top - 1.0*qubit1_pos_x + 0.5*qubit1top)**2.0)**0.5, -0.5*JJ_width + 1.0*qubit0_pos_y - 9.99200722162641e-16*qubit0_tr) (0.5*JJ_gap + 0.5*qubit0_pos_x + 0.5*qubit1_pos_x, -0.5*JJ_width + 1.0*qubit0_pos_y - 9.99200722162641e-16*qubit0_tr) (0.5*JJ_gap + 0.5*qubit0_pos_x + 0.5*qubit1_pos_x, 0.5*JJ_width + 1.0*qubit0_pos_y), closed, covered)
  JJ0_pad2 = polyline(z=0, xy: (-0.5*JJ_gap + 0.5*qubit0_pos_x + 0.5*qubit1_pos_x, 0.5*JJ_width + 1.0*qubit0_pos_y) (-0.5*JJ_width + 0.5*qubit0_pos_x + 0.166666666666666*qubit0_tr + 0.5*qubit1_pos_x - 0.5*((2.0*JJ_capa_gap + 1.0*qubit0_pos_x + 0.5*qubit0top - 1.0*qubit1_pos_x + 0.5*qubit1top)**2.0)**0.5, 0.5*JJ_width + 1.0*qubit0_pos_y) (0.5*qubit0_pos_x + 0.5*qubit1_pos_x - 0.5*((2.0*JJ_capa_gap + 1.0*qubit0_pos_x + 0.5*qubit0top - 1.0*qubit1_pos_x + 0.5*qubit1top)**2.0)**0.5, 1.0*qubit0_pos_y + 0.166666666666666*qubit0_tr) (0.5*qubit0_pos_x + 0.5*qubit1_pos_x - 0.5*((2.0*JJ_capa_gap + 1.0*qubit0_pos_x + 0.5*qubit0top - 1.0*qubit1_pos_x + 0.5*qubit1top)**2.0)**0.5, 1.0*qubit0_pos_y - 0.166666666666667*qubit0_tr) (-0.5*JJ_width + 0.5*qubit0_pos_x + 0.166666666666666*qubit0_tr + 0.5*qubit1_pos_x - 0.5*((2.0*JJ_capa_gap + 1.0*qubit0_pos_x + 0.5*qubit0top - 1.0*qubit1_pos_x + 0.5*qubit1top)**2.0)**0.5, -0.5*JJ_width + 1.0*qubit0_pos_y - 9.99200722162641e-16*qubit0_tr) (-0.5*JJ_gap + 0.5*qubit0_pos_x + 0.5*qubit1_pos_x, -0.5*JJ_width + 1.0*qubit0_pos_y - 9.99200722162641e-16*qubit0_tr) (-0.5*JJ_gap + 0.5*qubit0_pos_x + 0.5*qubit1_pos_x, 0.5*JJ_width + 1.0*qubit0_pos_y), closed, covered)
  JJ0_pads.unite(JJ0_pad2)
  JJ0_mesh = rectangle(corner=(0.5*qubit0_pos_x + 0.5*qubit1_pos_x - 0.5*((2.0*JJ_capa_gap + 1.0*qubit0_pos_x + 0.5*qubit0top - 1.0*qubit1_pos_x + 0.5*qubit1top)**2.0)**0.5, 1.0*qubit0_pos_y - 0.166666666666666*qubit0_tr, 0), x_size=1.0*((2.0*JJ_capa_gap + 1.0*qubit0_pos_x + 0.5*qubit0top - 1.0*qubit1_pos_x + 0.5*qubit1top)**2.0)**0.5, y_size=0.333333333333333*qubit0_tr)
  JJ0_cutout = rectangle(corner=(1.0*JJ_capa_gap + 1.0*qubit0_pos_x + 0.25*qubit0top + 0.25*qubit1top, qubit0_pos_y - 0.266666666666666*qubit0_tr, 0), x_size=-2.0*JJ_capa_gap - 1.0*qubit0_pos_x - 0.5*qubit0top + 1.0*qubit1_pos_x - 0.5*qubit1top, y_size=0.533333333333333*qubit0_tr)
  cg1 = rectangle(corner=(qubit0_pos_x + 0.5*qubit0top, qubit0_pos_y - 0.166666666666666*qubit0_tr, 0), x_size=JJ_capa_gap, y_size=0.333333333333333*qubit0_tr)
  cg1_mesh = rectangle(corner=(qubit0_pos_x + 0.5*qubit0top, qubit0_pos_y - 0.166666666666666*qubit0_tr, 0), x_size=JJ_capa_gap, y_size=0.333333333333333*qubit0_tr)
  cg2 = rectangle(corner=(-1.0*JJ_capa_gap + qubit1_pos_x - 0.5*qubit1top, qubit1_pos_y - 0.166666666666666*qubit1_tr, 0), x_size=JJ_capa_gap, y_size=0.333333333333333*qubit1_tr)
  cg1_mesh_1 = rectangle(corner=(-1.0*JJ_capa_gap + qubit1_pos_x - 0.5*qubit1top, qubit1_pos_y - 0.166666666666666*qubit1_tr, 0), x_size=JJ_capa_gap, y_size=0.333333333333333*qubit1_tr)
  qubit0_cutout.unite(qubit1_cutout, JJ0_cutout, cg1, cg2)
  ground_plane.subtract(qubit0_cutout)
  JJ01 = rectangle(corner=(-0.5*JJ_width + 0.5*qubit0_pos_x + 0.5*qubit1_pos_x, -0.5*JJ_L + 1.0*qubit0_pos_y, 0), x_size=1.0*JJ_width, y_size=1.0*JJ_L)
  coordinate_system RelativeCS1 = origin=(3.296mm, 3.004mm, 0mm) x=(1mm, 0mm, 0mm) y=(0mm, 1mm, 0mm)
  JJ01_1 = JJ01.copy()
  JJ0_pads.subtract(JJ01_1)
  jj01_junction_line = polyline((0.002mm, -0.004mm, 0mm) (0.006mm, -0.004mm, 0mm)) in RelativeCS1
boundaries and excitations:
  ground_plane_PerfE: Perfect E Objects=ground_plane
  qubit0_junction_LumpRLC: Lumped RLC Objects=qubit0_junction CurrentLine{middle of qubit0_junction.edge(y at corner) -> middle of qubit0_junction.edge(y opposite corner)} RLC_Type=Parallel Inductance=qubit0induct
  qubit1_junction_LumpRLC: Lumped RLC Objects=qubit1_junction CurrentLine{middle of qubit1_junction.edge(y at corner) -> middle of qubit1_junction.edge(y opposite corner)} RLC_Type=Parallel Inductance=qubit1induct
  qubit0_pads_PerfE: Perfect E Objects=qubit0_pads
  qubit1_pads_PerfE: Perfect E Objects=qubit1_pads
  JJ0_pads_PerfE: Perfect E Objects=JJ0_pads
  LumpRLC1: Lumped RLC Objects=[jj01_junction_line, JJ01] CurrentLine{middle of JJ01.edge(x opposite corner) -> middle of JJ01.edge(x at corner)} RLC_Type=Parallel Resistance=q01_tuning_resistance Inductance=q01_tuning_inductance Capacitance=q01_tuning_capacitance
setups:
  Setup1: HfssEigen MinimumFrequency=4GHz NumModes=3 MaxDeltaFreq=1 ConvergeOnRealFreq=true MaximumPasses=20 MinimumPasses=1 MinimumConvergedPasses=1 PercentRefinement=30 BasisOrder=-1 DoLambdaRefine=false
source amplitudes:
  #-10:1: 1 0deg
  #-10:2, #-10:3: 0 0deg
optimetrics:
  ParametricSetup1: Parametric Sim._Setups=[Setup1]
    sweep q01_tuning_capacitance: 1.06fF 31.6fF
    sweep q01_tuning_resistance: 4500000000ohm 840000000000000ohm
    table edits: del(1.06fF, 840000000000000ohm) del(31.6fF, 4500000000ohm)
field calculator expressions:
  UE = Mag_E | 2 | Pow | EnterVolume(AllObjects) | VolumeValue | Integrate
  USJJ = Mag_E | 2 | Pow | EnterSurface(JJ01) | SurfaceValue | Integrate | 3e-09 | *
  pe_jj = USJJ | UE | /
  USQ1 = Mag_E | 2 | Pow | EnterSurface(qubit0_pads) | SurfaceValue | Integrate | 3e-09 | *
  USQ2 = Mag_E | 2 | Pow | EnterSurface(qubit1_pads) | SurfaceValue | Integrate | 3e-09 | *
  pe_q1 = USQ1 | UE | /
  pe_q2 = USQ2 | UE | /
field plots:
  Mag_E1: E Field on Setup1 : LastAdaptive at Phase=0deg
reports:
  Freq. vs. pass: re(Mode(1)), re(Mode(2)), re(Mode(3)) vs Pass on Setup1 : AdaptivePass
